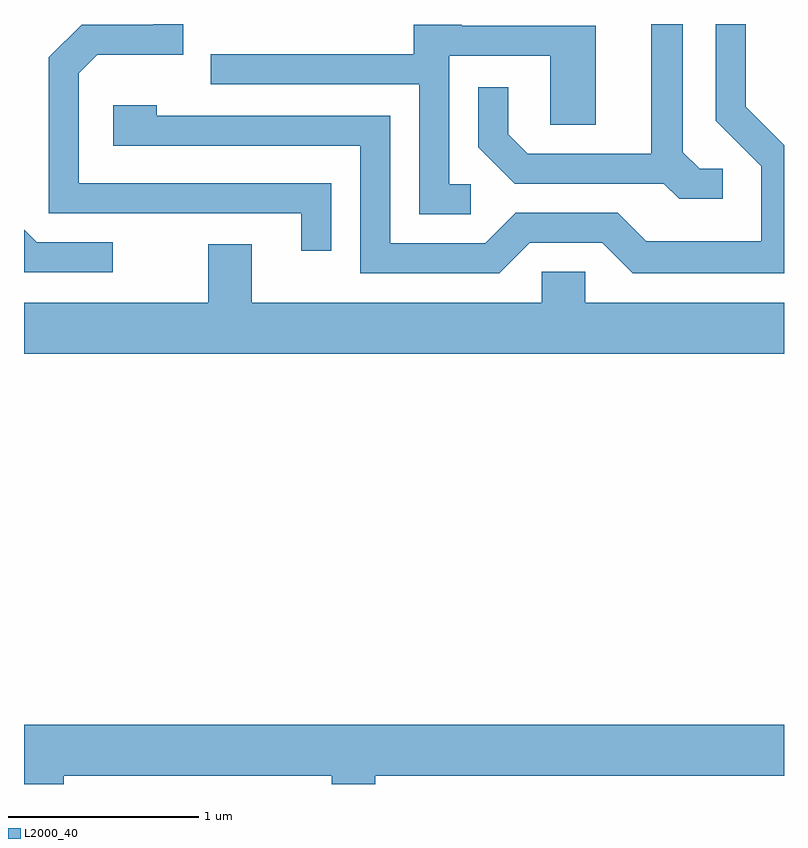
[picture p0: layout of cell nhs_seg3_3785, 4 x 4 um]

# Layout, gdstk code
import gdstk
lib = gdstk.Library(unit=1e-6, precision=1e-09)
def P(c, l, *ps):  # polygons
    for p in ps: c.add(gdstk.Polygon(p, *l))
L2000_40 = (2000, 40)

nhs_seg3_3785 = lib.new_cell('nhs_seg3_3785')
P(nhs_seg3_3785, L2000_40, [(298.272,1208.741),(298.654,1208.741),(298.814,1208.581),(299.611,1208.581),(299.611,1209.255),(299.409,1209.457),(299.409,1209.892),(299.251,1209.892),(299.251,1209.384),(299.491,1209.144),(299.491,1208.749),(298.887,1208.749),(298.737,1208.899),(298.199,1208.899),(298.039,1208.739),(297.539,1208.739),(297.539,1209.409),(296.309,1209.409),(296.309,1209.464),(296.081,1209.464),(296.081,1209.251),(297.381,1209.251),(297.381,1208.581),(298.112,1208.581)],
  [(299.288,1209.129),(299.167,1209.129),(299.079,1209.217),(299.079,1209.892),(298.911,1209.892),(298.911,1209.209),(298.262,1209.209),(298.159,1209.312),(298.159,1209.558),(298.001,1209.558),(298.001,1209.244),(298.194,1209.051),(298.979,1209.051),(299.059,1208.971),(299.288,1208.971)],
  [(297.229,1209.054),(295.899,1209.054),(295.899,1209.634),(295.997,1209.731),(296.449,1209.731),(296.449,1209.892),(296.291,1209.892),(296.291,1209.889),(295.914,1209.889),(295.741,1209.717),(295.741,1208.896),(297.071,1208.896),(297.071,1208.698),(297.229,1208.698)],
  [(297.963,1209.049),(297.849,1209.049),(297.849,1209.726),(298.381,1209.726),(298.381,1209.361),(298.619,1209.361),(298.619,1209.884),(297.915,1209.884),(297.915,1209.889),(297.661,1209.889),(297.661,1209.734),(296.593,1209.734),(296.593,1209.576),(297.691,1209.576),(297.691,1208.891),(297.963,1208.891)],
  [(296.078,1208.744),(295.677,1208.744),(295.611,1208.81),(295.611,1208.586),(296.078,1208.586)],
  [(299.611,1208.424),(298.564,1208.424),(298.564,1208.589),(298.336,1208.589),(298.336,1208.424),(296.809,1208.424),(296.809,1208.734),(296.581,1208.734),(296.581,1208.424),(295.611,1208.424),(295.611,1208.156),(299.611,1208.156)],
  [(295.819,1205.936),(297.231,1205.936),(297.231,1205.892),(297.459,1205.892),(297.459,1205.936),(299.611,1205.936),(299.611,1206.204),(295.611,1206.204),(295.611,1205.892),(295.819,1205.892)])

lib.write_gds('nhs_seg3_3785.gds')
